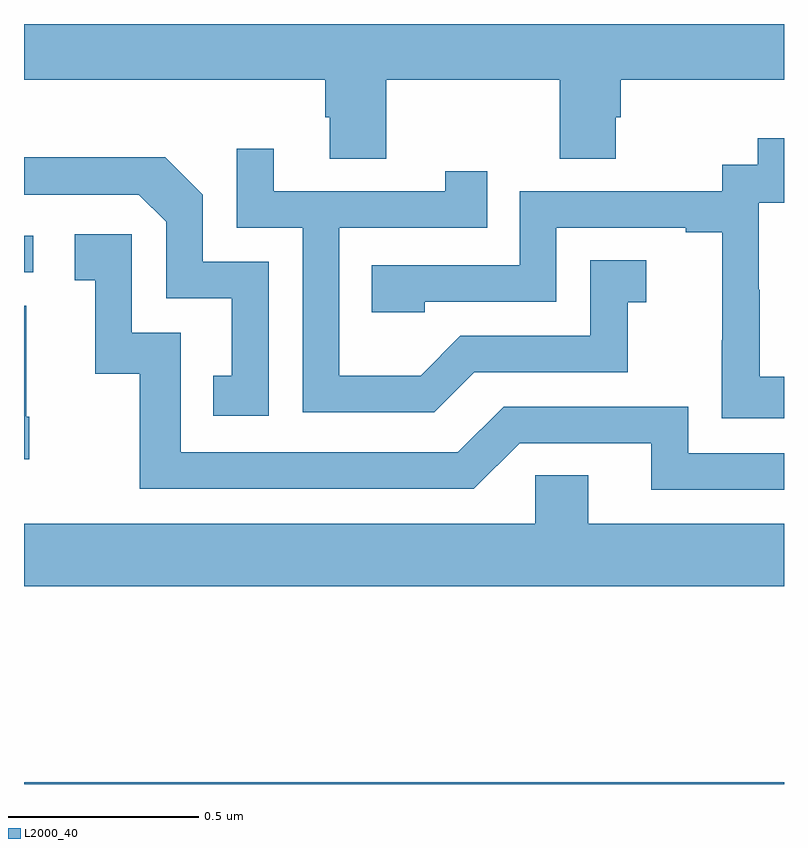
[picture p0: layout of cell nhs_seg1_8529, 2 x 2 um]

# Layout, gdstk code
import gdstk
lib = gdstk.Library(unit=1e-6, precision=1e-09)
def R(c, l, rs):  # rectangles x0, y0, x1, y1
    for r in rs: c.add(gdstk.rectangle(r[:2], r[2:], *l))
def P(c, l, *ps):  # polygons
    for p in ps: c.add(gdstk.Polygon(p, *l))
L2000_40 = (2000, 40)

nhs_seg1_8529 = lib.new_cell('nhs_seg1_8529')
R(nhs_seg1_8529, L2000_40, [(217,563.199,219,563.204), (217,564.546,217.024,564.642)])
P(nhs_seg1_8529, L2000_40, [(217.953,565.052),(218.41,565.052),(218.41,564.844),(218.557,564.844),(218.557,564.954),(218.57,564.954),(218.57,565.052),(219,565.052),(219,565.199),(217,565.199),(217,565.052),(217.793,565.052),(217.793,564.954),(217.805,564.954),(217.805,564.844),(217.953,564.844)],
  [(219,564.271),(218.936,564.271),(218.936,564.5),(218.934,564.5),(218.934,564.729),(219,564.729),(219,564.898),(218.931,564.898),(218.931,564.828),(218.838,564.828),(218.838,564.759),(218.304,564.759),(218.304,564.564),(217.915,564.564),(217.915,564.441),(218.055,564.441),(218.055,564.468),(218.4,564.468),(218.4,564.663),(218.741,564.663),(218.741,564.651),(218.837,564.651),(218.837,564.367),(218.836,564.367),(218.836,564.161),(219,564.161)],
  [(218.185,564.282),(218.589,564.282),(218.589,564.467),(218.638,564.467),(218.638,564.577),(218.49,564.577),(218.49,564.378),(218.148,564.378),(218.044,564.274),(217.83,564.274),(217.83,564.663),(218.219,564.663),(218.219,564.811),(218.108,564.811),(218.108,564.759),(217.657,564.759),(217.657,564.871),(217.56,564.871),(217.56,564.663),(217.734,564.663),(217.734,564.177),(218.08,564.177)],
  [(217.644,564.573),(217.47,564.573),(217.47,564.75),(217.372,564.848),(217,564.848),(217,564.75),(217.302,564.75),(217.374,564.678),(217.374,564.477),(217.547,564.477),(217.547,564.273),(217.498,564.273),(217.498,564.168),(217.644,564.168)],
  [(219,564.069),(218.748,564.069),(218.748,564.192),(218.262,564.192),(218.142,564.072),(217.413,564.072),(217.413,564.387),(217.284,564.387),(217.284,564.646),(217.134,564.646),(217.134,564.525),(217.187,564.525),(217.187,564.279),(217.305,564.279),(217.305,563.976),(218.184,563.976),(218.304,564.096),(218.651,564.096),(218.651,563.973),(219,563.973)],
  [(217.014,564.166),(217.006,564.166),(217.006,564.457),(217,564.457),(217,564.054),(217.014,564.054)],
  [(219,563.884),(218.485,563.884),(218.485,564.011),(218.346,564.011),(218.346,563.884),(217,563.884),(217,563.72),(219,563.72)])

lib.write_gds('nhs_seg1_8529.gds')
